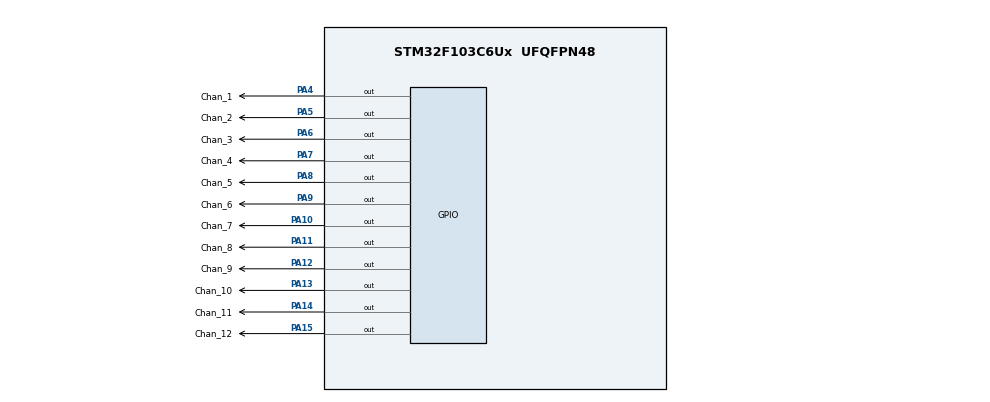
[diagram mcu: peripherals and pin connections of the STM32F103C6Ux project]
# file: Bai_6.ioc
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Mcu.Family=STM32F1
Mcu.Name=STM32F103C6Ux
Mcu.Package=UFQFPN48
NVIC.PriorityGroup=NVIC_PRIORITYGROUP_4
PA10.GPIO_Label=Chan_7
PA10.Signal=GPIO_Output
PA11.GPIO_Label=Chan_8
PA11.Signal=GPIO_Output
PA12.GPIO_Label=Chan_9
PA12.Signal=GPIO_Output
PA13.GPIO_Label=Chan_10
PA13.Signal=GPIO_Output
PA14.GPIO_Label=Chan_11
PA14.Signal=GPIO_Output
PA15.GPIO_Label=Chan_12
PA15.Signal=GPIO_Output
PA4.GPIO_Label=Chan_1
PA4.Signal=GPIO_Output
PA5.GPIO_Label=Chan_2
PA5.Signal=GPIO_Output
PA6.GPIO_Label=Chan_3
PA6.Signal=GPIO_Output
PA7.GPIO_Label=Chan_4
PA7.Signal=GPIO_Output
PA8.GPIO_Label=Chan_5
PA8.Signal=GPIO_Output
PA9.GPIO_Label=Chan_6
PA9.Signal=GPIO_Output
ProjectManager.HeapSize=0x200
ProjectManager.StackSize=0x400
ProjectManager.TargetToolchain=STM32CubeIDE
RCC.APB1Freq_Value=8000000
RCC.APB2Freq_Value=8000000
VP_SYS_VS_ND.Mode=No_Debug
board=custom

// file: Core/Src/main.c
/* USER CODE BEGIN Header */
/**
  ******************************************************************************
  * @file           : main.c
  * @brief          : Main program body
  ******************************************************************************
  * @attention
  *
  * <h2><center>&copy; Copyright (c) 2025 STMicroelectronics.
  * All rights reserved.</center></h2>
  *
  * This software component is licensed by ST under BSD 3-Clause license,
  * the "License"; You may not use this file except in compliance with the
  * License. You may obtain a copy of the License at:
  *                        opensource.org/licenses/BSD-3-Clause
  *
  ******************************************************************************
  */
/* USER CODE END Header */
#include "main.h"

/* USER CODE BEGIN Includes */
#define LED_COUNT 12
#define LED_SINK 1
/* USER CODE END Includes */

/* USER CODE BEGIN PV */
static const uint16_t LED_PINS[LED_COUNT] = {
  Chan_1_Pin, Chan_2_Pin, Chan_3_Pin, Chan_4_Pin,
  Chan_5_Pin, Chan_6_Pin, Chan_7_Pin, Chan_8_Pin,
  Chan_9_Pin, Chan_10_Pin, Chan_11_Pin, Chan_12_Pin
};

static GPIO_TypeDef* const LED_PORT = Chan_1_GPIO_Port;

static const GPIO_PinState LED_ON  = (LED_SINK ? GPIO_PIN_RESET : GPIO_PIN_SET);
static const GPIO_PinState LED_OFF = (LED_SINK ? GPIO_PIN_SET   : GPIO_PIN_RESET);
/* USER CODE END PV */

void SystemClock_Config(void);
static void MX_GPIO_Init(void);

/* USER CODE BEGIN 0 */
static void AllLEDsOff(void)
{
  for (int i = 0; i < LED_COUNT; ++i) {
    HAL_GPIO_WritePin(LED_PORT, LED_PINS[i], LED_OFF);
  }
}

static void AllLEDsOn(void)
{
  for (int i = 0; i < LED_COUNT; ++i) {
    HAL_GPIO_WritePin(LED_PORT, LED_PINS[i], LED_ON);
  }
}
/* USER CODE END 0 */

int main(void)
{

  /* MCU Configuration--------------------------------------------------------*/

  /* Reset of all peripherals, Initializes the Flash interface and the Systick. */
  HAL_Init();

  /* Configure the system clock */
  SystemClock_Config();

  /* Initialize all configured peripherals */
  MX_GPIO_Init();
  /* USER CODE BEGIN 2 */
#define ALL_ON_MS    1000U
#define ALL_OFF_MS   1000U
#define STEP_MS      1000U

  AllLEDsOn();
  HAL_Delay(ALL_ON_MS);
  AllLEDsOff();
  HAL_Delay(ALL_OFF_MS);
  /* USER CODE END 2 */

  /* Infinite loop */
  /* USER CODE BEGIN WHILE */
  while (1)
  {
    for (int i = 0; i < LED_COUNT; ++i) {
      AllLEDsOff();
      HAL_GPIO_WritePin(LED_PORT, LED_PINS[i], LED_ON);
      HAL_Delay(STEP_MS);
    }

    HAL_GPIO_WritePin(LED_PORT, LED_PINS[LED_COUNT - 1], LED_OFF);
    HAL_Delay(1000);

    AllLEDsOn();
    HAL_Delay(ALL_ON_MS);

    AllLEDsOff();
    HAL_Delay(ALL_OFF_MS);
    /* USER CODE END WHILE */

  }
}

void SystemClock_Config(void)
{
  RCC_OscInitTypeDef RCC_OscInitStruct = {0};
  RCC_ClkInitTypeDef RCC_ClkInitStruct = {0};

  /** Initializes the RCC Oscillators according to the specified parameters
  * in the RCC_OscInitTypeDef structure.
  */
  RCC_OscInitStruct.OscillatorType = RCC_OSCILLATORTYPE_HSI;
  RCC_OscInitStruct.HSIState = RCC_HSI_ON;
  RCC_OscInitStruct.HSICalibrationValue = RCC_HSICALIBRATION_DEFAULT;
  RCC_OscInitStruct.PLL.PLLState = RCC_PLL_NONE;
  if (HAL_RCC_OscConfig(&RCC_OscInitStruct) != HAL_OK)
  {
    Error_Handler();
  }
  /** Initializes the CPU, AHB and APB buses clocks
  */
  RCC_ClkInitStruct.ClockType = RCC_CLOCKTYPE_HCLK|RCC_CLOCKTYPE_SYSCLK
                              |RCC_CLOCKTYPE_PCLK1|RCC_CLOCKTYPE_PCLK2;
  RCC_ClkInitStruct.SYSCLKSource = RCC_SYSCLKSOURCE_HSI;
  RCC_ClkInitStruct.AHBCLKDivider = RCC_SYSCLK_DIV1;
  RCC_ClkInitStruct.APB1CLKDivider = RCC_HCLK_DIV1;
  RCC_ClkInitStruct.APB2CLKDivider = RCC_HCLK_DIV1;

  if (HAL_RCC_ClockConfig(&RCC_ClkInitStruct, FLASH_LATENCY_0) != HAL_OK)
  {
    Error_Handler();
  }
}

static void MX_GPIO_Init(void)
{
  GPIO_InitTypeDef GPIO_InitStruct = {0};

  /* GPIO Ports Clock Enable */
  __HAL_RCC_GPIOA_CLK_ENABLE();

  /*Configure GPIO pin Output Level */
  HAL_GPIO_WritePin(GPIOA, Chan_1_Pin|Chan_2_Pin|Chan_3_Pin|Chan_4_Pin
                          |Chan_5_Pin|Chan_6_Pin|Chan_7_Pin|Chan_8_Pin
                          |Chan_9_Pin|Chan_10_Pin|Chan_11_Pin|Chan_12_Pin, GPIO_PIN_RESET);

  /*Configure GPIO pins : Chan_1_Pin Chan_2_Pin Chan_3_Pin Chan_4_Pin
                           Chan_5_Pin Chan_6_Pin Chan_7_Pin Chan_8_Pin
                           Chan_9_Pin Chan_10_Pin Chan_11_Pin Chan_12_Pin */
  GPIO_InitStruct.Pin = Chan_1_Pin|Chan_2_Pin|Chan_3_Pin|Chan_4_Pin
                          |Chan_5_Pin|Chan_6_Pin|Chan_7_Pin|Chan_8_Pin
                          |Chan_9_Pin|Chan_10_Pin|Chan_11_Pin|Chan_12_Pin;
  GPIO_InitStruct.Mode = GPIO_MODE_OUTPUT_PP;
  GPIO_InitStruct.Pull = GPIO_NOPULL;
  GPIO_InitStruct.Speed = GPIO_SPEED_FREQ_LOW;
  HAL_GPIO_Init(GPIOA, &GPIO_InitStruct);

}

void Error_Handler(void)
{
  __disable_irq();
  while (1)
  {
  }
}

/************************ (C) COPYRIGHT STMicroelectronics *****END OF FILE****/
